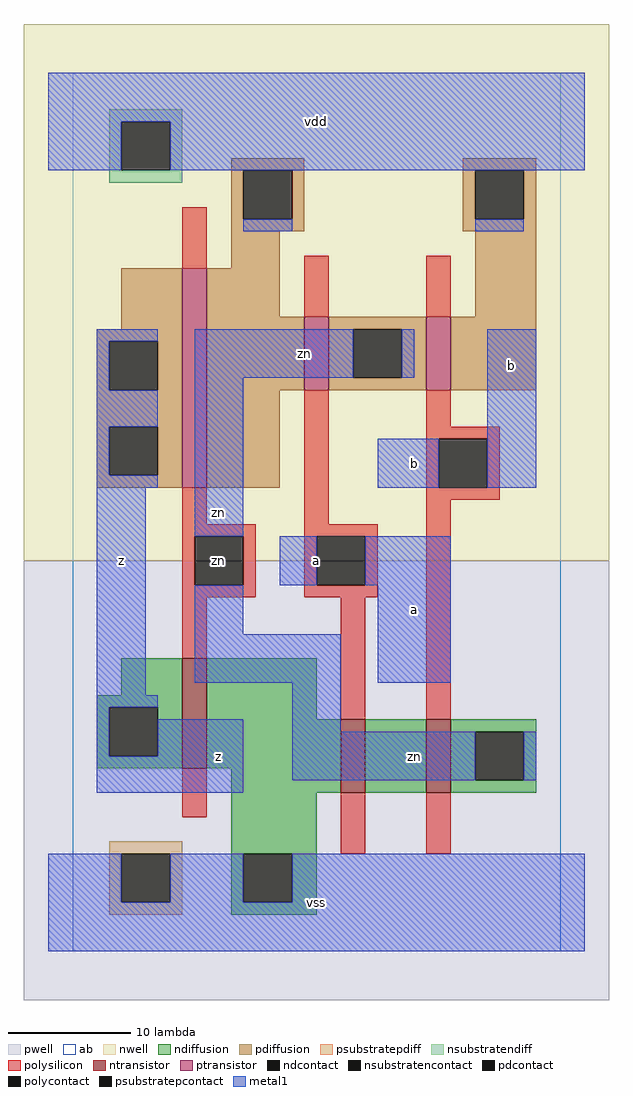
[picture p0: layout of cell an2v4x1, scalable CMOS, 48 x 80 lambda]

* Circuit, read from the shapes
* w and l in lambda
.subckt an2v4x1 a b vdd vss z zn
M1 vss zn z vss nfet w=9 l=2
M2 n1 a vss vss nfet w=6 l=2
M3 zn b n1 vss nfet w=6 l=2
M4 vdd zn z vdd pfet w=18 l=2
M5 zn a vdd vdd pfet w=6 l=2
M6 vdd b zn vdd pfet w=6 l=2
.ends

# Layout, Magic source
magic
tech scmos
<< ab >>
rect 0 0 40 72
<< pwell >>
rect -4 -4 44 32
<< nwell >>
rect -4 32 44 76
<< polysilicon >>
rect 9 56 11 61
rect 19 52 21 57
rect 29 52 31 57
rect 9 35 11 38
rect 19 35 21 46
rect 29 43 31 46
rect 29 42 35 43
rect 29 38 30 42
rect 34 38 35 42
rect 29 37 35 38
rect 9 34 15 35
rect 9 30 10 34
rect 14 30 15 34
rect 9 29 15 30
rect 19 34 25 35
rect 19 30 20 34
rect 24 30 25 34
rect 19 29 25 30
rect 9 24 11 29
rect 22 19 24 29
rect 29 19 31 37
rect 9 11 11 15
rect 22 8 24 13
rect 29 8 31 13
<< ndiffusion >>
rect 4 21 9 24
rect 2 20 9 21
rect 2 16 3 20
rect 7 16 9 20
rect 2 15 9 16
rect 11 19 20 24
rect 11 15 22 19
rect 13 13 22 15
rect 24 13 29 19
rect 31 18 38 19
rect 31 14 33 18
rect 37 14 38 18
rect 31 13 38 14
rect 13 8 20 13
rect 13 4 14 8
rect 18 4 20 8
rect 13 3 20 4
<< pdiffusion >>
rect 13 64 19 65
rect 13 60 14 64
rect 18 60 19 64
rect 13 59 19 60
rect 32 64 38 65
rect 32 60 33 64
rect 37 60 38 64
rect 32 59 38 60
rect 13 56 17 59
rect 4 51 9 56
rect 2 50 9 51
rect 2 46 3 50
rect 7 46 9 50
rect 2 43 9 46
rect 2 39 3 43
rect 7 39 9 43
rect 2 38 9 39
rect 11 52 17 56
rect 33 52 38 59
rect 11 46 19 52
rect 21 51 29 52
rect 21 47 23 51
rect 27 47 29 51
rect 21 46 29 47
rect 31 46 38 52
rect 11 38 17 46
<< metal1 >>
rect -2 68 42 72
rect -2 64 4 68
rect 8 64 42 68
rect 14 59 18 60
rect 33 59 37 60
rect 2 50 7 51
rect 2 46 3 50
rect 2 43 7 46
rect 2 39 3 43
rect 2 38 7 39
rect 10 47 23 51
rect 27 47 28 51
rect 2 21 6 38
rect 10 34 14 47
rect 25 38 30 42
rect 34 38 38 51
rect 17 30 20 34
rect 24 30 31 34
rect 10 26 14 30
rect 10 22 22 26
rect 25 22 31 30
rect 2 20 7 21
rect 2 16 3 20
rect 7 16 14 19
rect 2 13 14 16
rect 18 18 22 22
rect 18 14 33 18
rect 37 14 38 18
rect -2 4 4 8
rect 8 4 14 8
rect 18 4 42 8
rect -2 0 42 4
<< ntransistor >>
rect 9 15 11 24
rect 22 13 24 19
rect 29 13 31 19
<< ptransistor >>
rect 9 38 11 56
rect 19 46 21 52
rect 29 46 31 52
<< polycontact >>
rect 30 38 34 42
rect 10 30 14 34
rect 20 30 24 34
<< ndcontact >>
rect 3 16 7 20
rect 33 14 37 18
rect 14 4 18 8
<< pdcontact >>
rect 14 60 18 64
rect 33 60 37 64
rect 3 46 7 50
rect 3 39 7 43
rect 23 47 27 51
<< psubstratepcontact >>
rect 4 4 8 8
<< nsubstratencontact >>
rect 4 64 8 68
<< psubstratepdiff >>
rect 3 8 9 9
rect 3 4 4 8
rect 8 4 9 8
rect 3 3 9 4
<< nsubstratendiff >>
rect 3 68 9 69
rect 3 64 4 68
rect 8 64 9 68
rect 3 63 9 64
<< labels >>
rlabel polycontact 12 32 12 32 6 zn
rlabel metal1 4 32 4 32 6 z
rlabel metal1 12 16 12 16 6 z
rlabel metal1 12 36 12 36 6 zn
rlabel metal1 20 4 20 4 6 vss
rlabel metal1 20 32 20 32 6 a
rlabel metal1 28 28 28 28 6 a
rlabel metal1 28 40 28 40 6 b
rlabel metal1 19 49 19 49 6 zn
rlabel metal1 20 68 20 68 6 vdd
rlabel metal1 28 16 28 16 6 zn
rlabel metal1 36 48 36 48 6 b
<< end >>
